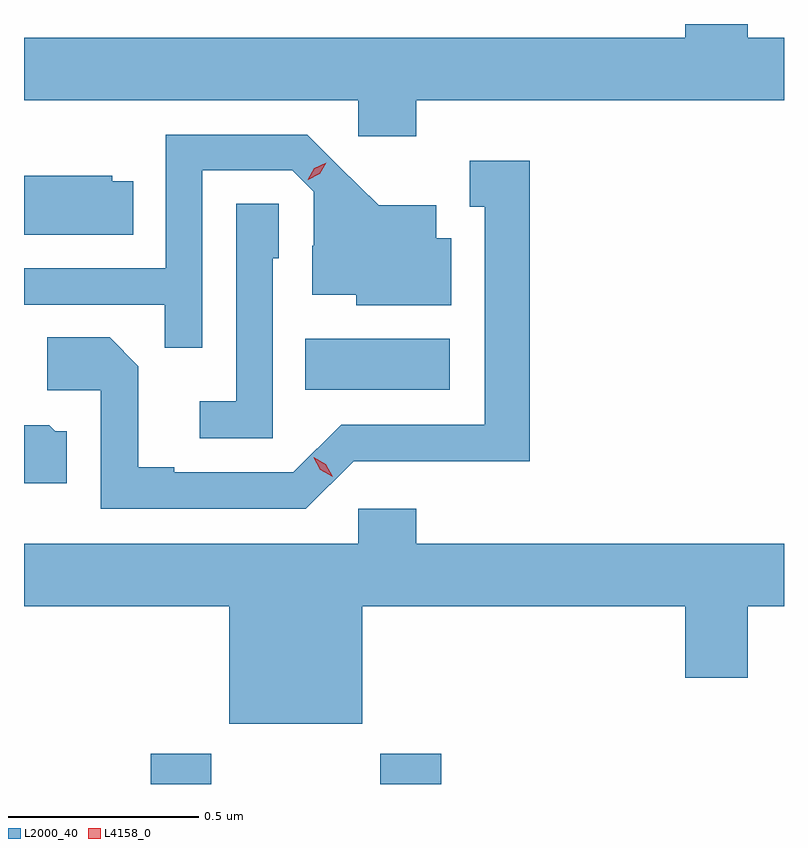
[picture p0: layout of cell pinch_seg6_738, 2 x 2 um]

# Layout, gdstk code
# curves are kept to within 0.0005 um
import gdstk
lib = gdstk.Library(unit=1e-6, precision=1e-09)
def R(c, l, rs):  # rectangles x0, y0, x1, y1
    for r in rs: c.add(gdstk.rectangle(r[:2], r[2:], *l))
def P(c, l, *ps):  # polygons
    for p in ps: c.add(gdstk.Polygon(p, *l))
L2000_40 = (2000, 40)
L4158_0 = (4158, 0)

pinch_seg6_738 = lib.new_cell('pinch_seg6_738')
R(pinch_seg6_738, L2000_40, [(619.145,946.868,619.305,946.948), (619.75,946.868,619.91,946.948), (619.552,947.906,619.933,948.04)])
P(pinch_seg6_738, L2000_40, [(619.844,948.668),(620.812,948.668),(620.812,948.832),(620.716,948.832),(620.716,948.868),(620.552,948.868),(620.552,948.832),(618.812,948.832),(618.812,948.668),(619.692,948.668),(619.692,948.573),(619.844,948.573)],
  [(619.281,948.483),(619.518,948.483),(619.575,948.426),(619.575,948.284),(619.571,948.284),(619.571,948.155),(619.686,948.155),(619.686,948.128),(619.936,948.128),(619.936,948.304),(619.897,948.304),(619.897,948.391),(619.745,948.391),(619.558,948.576),(619.185,948.576),(619.185,948.225),(618.812,948.225),(618.812,948.129),(619.183,948.129),(619.183,948.016),(619.281,948.016)],
  [(619.68,947.718),(619.902,947.718),(619.902,947.717),(620.143,947.717),(620.143,948.508),(619.985,948.508),(619.985,948.387),(620.024,948.387),(620.024,947.814),(619.647,947.814),(619.521,947.688),(619.207,947.688),(619.207,947.701),(619.113,947.701),(619.113,947.968),(619.037,948.044),(618.873,948.044),(618.873,947.904),(619.014,947.904),(619.014,947.592),(619.554,947.592)],
  [(619.1,948.454),(619.044,948.454),(619.044,948.469),(618.812,948.469),(618.812,948.314),(619.1,948.314)],
  [(619.467,948.252),(619.482,948.252),(619.482,948.395),(619.371,948.395),(619.371,947.875),(619.275,947.875),(619.275,947.778),(619.467,947.778)],
  [(618.925,947.796),(618.894,947.796),(618.878,947.812),(618.812,947.812),(618.812,947.66),(618.925,947.66)],
  [(619.702,947.336),(620.552,947.336),(620.552,947.148),(620.716,947.148),(620.716,947.336),(620.812,947.336),(620.812,947.5),(619.844,947.5),(619.844,947.593),(619.692,947.593),(619.692,947.5),(618.812,947.5),(618.812,947.336),(619.352,947.336),(619.352,947.027),(619.702,947.027)])
P(pinch_seg6_738, L4158_0, [(619.624,947.677),(619.592,947.695),(619.574,947.727),(619.574,947.728),(619.575,947.728),(619.606,947.709),(619.624,947.677),(619.624,947.677)],
  [(619.559,948.458),(619.559,948.458),(619.576,948.488),(619.607,948.503),(619.607,948.503),(619.607,948.503),(619.59,948.474),(619.56,948.458)])

lib.write_gds('pinch_seg6_738.gds')
